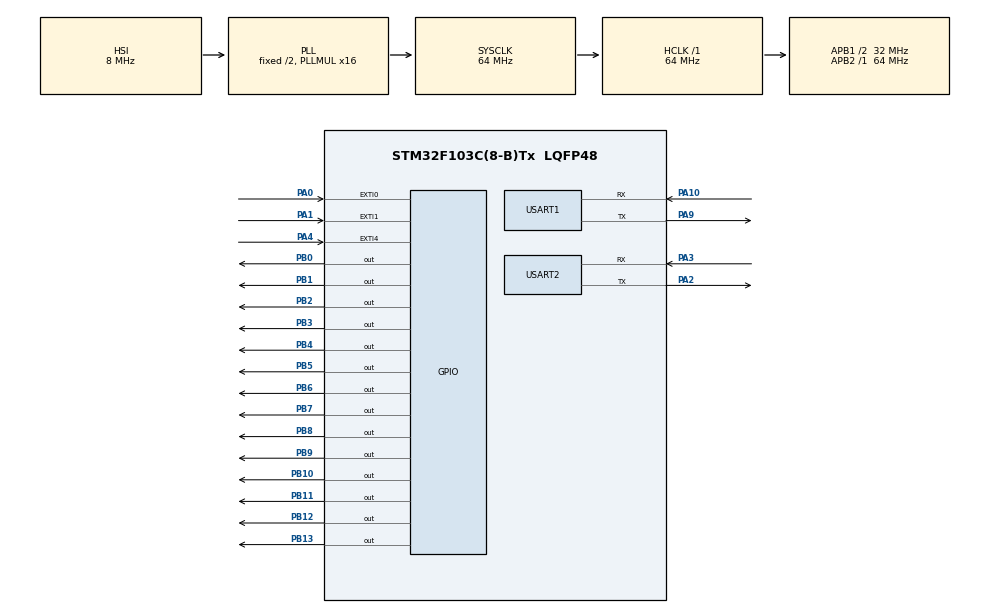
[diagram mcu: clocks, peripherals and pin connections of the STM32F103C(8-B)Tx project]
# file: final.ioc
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Mcu.Family=STM32F1
Mcu.Name=STM32F103C(8-B)Tx
Mcu.Package=LQFP48
NVIC.EXTI0_IRQn=true\:0\:0\:false\:false\:true\:true\:true\:true
NVIC.EXTI1_IRQn=true\:0\:0\:false\:false\:true\:true\:true\:true
NVIC.EXTI4_IRQn=true\:0\:0\:false\:false\:true\:true\:true\:true
NVIC.PriorityGroup=NVIC_PRIORITYGROUP_4
NVIC.USART1_IRQn=true\:0\:0\:false\:false\:true\:true\:true\:true
PA0-WKUP.Signal=GPXTI0
PA1.Signal=GPXTI1
PA10.Mode=Asynchronous
PA10.Signal=USART1_RX
PA13.Signal=SYS_JTMS-SWDIO
PA14.Signal=SYS_JTCK-SWCLK
PA2.Mode=Asynchronous
PA2.Signal=USART2_TX
PA3.Mode=Asynchronous
PA3.Signal=USART2_RX
PA4.GPIO_ModeDefaultEXTI=GPIO_MODE_IT_RISING
PA4.Signal=GPXTI4
PA9.Mode=Asynchronous
PA9.Signal=USART1_TX
PB0.GPIO_Speed=GPIO_SPEED_FREQ_HIGH
PB0.Signal=GPIO_Output
PB1.GPIO_Speed=GPIO_SPEED_FREQ_HIGH
PB1.Signal=GPIO_Output
PB10.GPIO_Speed=GPIO_SPEED_FREQ_HIGH
PB10.Signal=GPIO_Output
PB11.GPIO_Speed=GPIO_SPEED_FREQ_HIGH
PB11.Signal=GPIO_Output
PB12.GPIO_Speed=GPIO_SPEED_FREQ_HIGH
PB12.Signal=GPIO_Output
PB13.GPIO_Speed=GPIO_SPEED_FREQ_HIGH
PB13.Signal=GPIO_Output
PB2.GPIO_Speed=GPIO_SPEED_FREQ_HIGH
PB2.Signal=GPIO_Output
PB3.GPIO_Speed=GPIO_SPEED_FREQ_HIGH
PB3.Signal=GPIO_Output
PB4.GPIO_Speed=GPIO_SPEED_FREQ_HIGH
PB4.Signal=GPIO_Output
PB5.GPIO_Speed=GPIO_SPEED_FREQ_HIGH
PB5.Signal=GPIO_Output
PB6.GPIO_Speed=GPIO_SPEED_FREQ_HIGH
PB6.Signal=GPIO_Output
PB7.GPIO_Speed=GPIO_SPEED_FREQ_HIGH
PB7.Signal=GPIO_Output
PB8.GPIO_Speed=GPIO_SPEED_FREQ_HIGH
PB8.Signal=GPIO_Output
PB9.GPIO_Speed=GPIO_SPEED_FREQ_HIGH
PB9.Signal=GPIO_Output
ProjectManager.HeapSize=0x200
ProjectManager.StackSize=0x400
ProjectManager.TargetToolchain=STM32CubeIDE
RCC.AHBFreq_Value=64000000
RCC.APB1CLKDivider=RCC_HCLK_DIV2
RCC.APB1Freq_Value=32000000
RCC.APB1TimFreq_Value=64000000
RCC.APB2Freq_Value=64000000
RCC.APB2TimFreq_Value=64000000
RCC.HCLKFreq_Value=64000000
RCC.PLLMUL=RCC_PLL_MUL16
RCC.SYSCLKFreq_VALUE=64000000
RCC.SYSCLKSource=RCC_SYSCLKSOURCE_PLLCLK
RCC.USBFreq_Value=64000000
USART1.VirtualMode=VM_ASYNC
USART2.VirtualMode=VM_ASYNC
VP_SYS_VS_ND.Mode=No_Debug
board=custom

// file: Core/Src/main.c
/* USER CODE BEGIN Header */
/**
  ******************************************************************************
  * @file           : main.c
  * @brief          : Main program body
  ******************************************************************************
  * @attention
  *
  * Copyright (c) 2024 STMicroelectronics.
  * All rights reserved.
  *
  * This software is licensed under terms that can be found in the LICENSE file
  * in the root directory of this software component.
  * If no LICENSE file comes with this software, it is provided AS-IS.
  *
  ******************************************************************************
  */
/* USER CODE END Header */
#include "main.h"

/* USER CODE BEGIN PTD */
#define IMAGE_SIZE 64
#define IMAGE_DATA_SIZE 4096
#define MAX_PWM_BITS 3
/* USER CODE END PTD */

UART_HandleTypeDef huart1;
UART_HandleTypeDef huart2;

/* USER CODE BEGIN PV */
uint32_t lastButtonPressTime = 0;
uint32_t lastRotationTime = 0;
uint8_t tapCount = 0;
const uint32_t debounceDelay = 100;
const uint32_t tapTimeout = 500;
int8_t encoderDirection = 0;
uint8_t lastStateA = 0;
const char* command = "";
uint8_t imageBuffer[IMAGE_SIZE][IMAGE_SIZE];
uint32_t rowAddressValues[32];
uint32_t bsrrLookupTable[64];
uint8_t pixelLookupTable[MAX_PWM_BITS][256];  // 3 PWM bits x 256 pixel values
const int pwmBitsRed = 3;
const int pwmBitsGreen = 3;
const int pwmBitsBlue = 2;
const int maxPwmBits = 3; // Maximum number of bits among R, G, B
int baseDelay = 200;
/* USER CODE END PV */

void SystemClock_Config(void);
static void MX_GPIO_Init(void);
static void MX_USART2_UART_Init(void);
static void MX_USART1_UART_Init(void);
/* USER CODE BEGIN PFP */
void handleButtonAction(void);
void togglePlayPause(void);
void skipToNextSong(void);
void skipToPrevSong(void);
void adjustVolume(void);
void updateDisplay(void);
void init_buf(void);
void initRowAddressValues(void);
void initBsrrLookupTable(void);
/* USER CODE END PFP */

/* USER CODE BEGIN 0 */

// Interrupt handler for both rotation and button press
void HAL_GPIO_EXTI_Callback(uint16_t GPIO_Pin)
{
    uint32_t currentTime = HAL_GetTick();

    if (GPIO_Pin == GPIO_PIN_0)  // Pins A of the encoder
    {

    	//Debounce Rotation
    	if ((currentTime - lastRotationTime) > debounceDelay)
    	{
			// Read the state of both encoder pins
			uint8_t stateA = HAL_GPIO_ReadPin(GPIOA, GPIO_PIN_0);  // Encoder pin A
			uint8_t stateB = HAL_GPIO_ReadPin(GPIOA, GPIO_PIN_1);  // Encoder pin B

			// Determine rotation direction
			if (stateA != lastStateA){
				if (stateA != stateB) {
					encoderDirection = 1;  // Clockwise (CW)
				} else {
					encoderDirection = -1;  // Counterclockwise (CCW)
				}

				// Adjust the volume based on the rotation
				adjustVolume();
				encoderDirection = 0;
				lastRotationTime = currentTime;
			}
			lastStateA = stateA;
    	}

    }

    // Handle button press (connected to GPIO_PIN_4)
    if (GPIO_Pin == GPIO_PIN_4)  // Button press on the encoder
    {
		// Debounce the button press
		if ((currentTime - lastButtonPressTime) > debounceDelay)
		{
			// Register the button press and start counting taps
			tapCount++;

			// Update last button press time
			lastButtonPressTime = currentTime;
		}
   }
}

//UART Interrupt handler for receiving image data
void HAL_UART_RxCpltCallback(UART_HandleTypeDef *huart)
{
    if (huart->Instance == USART1)
    {
        // Restart UART reception
        HAL_UART_Receive_IT(&huart1, (uint8_t*)imageBuffer, IMAGE_DATA_SIZE);
    }
}

// Function to determine what action to perform based on tap count
void handleButtonAction(void)
{
	if (tapCount == 1){
		togglePlayPause();
	}
	else if (tapCount == 2){
		skipToNextSong();
	}
	else if (tapCount == 3){
		skipToPrevSong();
	}
	else{
	}
}

// Volume adjustment based on rotary encoder direction
void adjustVolume(void)
{
    if (encoderDirection > 0)
    {
        // Clockwise rotation: Increase volume
    	command = "raiseVolume\n";
    }
    else if (encoderDirection < 0)
    {
        // Counterclockwise rotation: Decrease volume
        command = "lowerVolume\n";
    }
    else{
    	return;
    }
	// Send 'command' to ESP32 via UART (hlpuart1)
	HAL_UART_Transmit(&huart1, (uint8_t*)command, strlen(command), HAL_MAX_DELAY);
}

// Action for single tap (play/pause)
void togglePlayPause(void)
{
    // Code to send play/pause command to Spotify
	command = "togglePlay\n";
	// Send 'command' to ESP32 via UART (hlpuart1)
	HAL_UART_Transmit(&huart1, (uint8_t*)command, strlen(command), HAL_MAX_DELAY);
}

// Action for double tap (next song)
void skipToNextSong(void)
{
    // Code to send next song command to Spotify
	command = "nextSong\n";
	// Send 'command' to ESP32 via UART (hlpuart1)
	(HAL_UART_Transmit(&huart1, (uint8_t*)command, strlen(command), HAL_MAX_DELAY) != HAL_OK);
}

// Action for triple tap (previous song)
void skipToPrevSong(void)
{
    // Code to send previous song command to Spotify
	command = "previousSong\n";
	// Send 'command' to ESP32 via UART (hlpuart1)
	(HAL_UART_Transmit(&huart1, (uint8_t*)command, strlen(command), HAL_MAX_DELAY) != HAL_OK);
}

// Function to set a pixel at (x, y) with RGB332 data
void setPixel(int x, int y, uint8_t r, uint8_t g, uint8_t b) {
    // Ensure coordinates are within bounds
    if (x < 0 || x >= IMAGE_SIZE || y < 0 || y >= IMAGE_SIZE) return;

    // Limit color components to their respective bit sizes
    r &= 0x07; // 3 bits for Red
    g &= 0x07; // 3 bits for Green
    b &= 0x03; // 2 bits for Blue

    // Combine RGB components into a single byte
    uint8_t pixelData = r | (g << 3) | (b << 6);

    // Store the pixel data
    imageBuffer[y][x] = pixelData;
}

void init_buf(){
    for (int y = 0; y < 32; y++) {
        for (int x = 0; x < IMAGE_SIZE; x++) {
            setPixel(x, y, 0x00, 0x07, 0x00); // Green
        }
    }
    for (int y = 32; y < IMAGE_SIZE; y++) {
        for (int x = 0; x < IMAGE_SIZE; x++) {
            setPixel(x, y, 0x00, 0x00, 0x00); // Black
        }
    }
}

void initRowAddressValues(void) {
    for (int row = 0; row < 32; row++) {
        uint32_t value = 0;

        // A line (PB7)
        if (row & 0x01) value |= (1 << 7);    // Set A
        else            value |= (1 << (7+16)); // Reset A

        // B line (PB8)
        if (row & 0x02) value |= (1 << 8);
        else            value |= (1 << (8+16));

        // C line (PB9)
        if (row & 0x04) value |= (1 << 9);
        else            value |= (1 << (9+16));

        // D line (PB10)
        if (row & 0x08) value |= (1 << 10);
        else            value |= (1 << (10+16));

        // E line (PB6)
        if (row & 0x10) value |= (1 << 6);
        else            value |= (1 << (6+16));

        rowAddressValues[row] = value;
    }
}

void initBsrrLookupTable(void) {
    for (int i = 0; i < 64; i++) {
        uint32_t bsrrValue = 0;

        int r1 = (i >> 0) & 1;
        int g1 = (i >> 1) & 1;
        int b1 = (i >> 2) & 1;
        int r2 = (i >> 3) & 1;
        int g2 = (i >> 4) & 1;
        int b2 = (i >> 5) & 1;

        // R1 = PB0
        bsrrValue |= r1 ? (1 << 0) : (1 << (0+16));
        // G1 = PB1
        bsrrValue |= g1 ? (1 << 1) : (1 << (1+16));
        // B1 = PB2
        bsrrValue |= b1 ? (1 << 2) : (1 << (2+16));
        // R2 = PB3
        bsrrValue |= r2 ? (1 << 3) : (1 << (3+16));
        // G2 = PB4
        bsrrValue |= g2 ? (1 << 4) : (1 << (4+16));
        // B2 = PB5
        bsrrValue |= b2 ? (1 << 5) : (1 << (5+16));

        bsrrLookupTable[i] = bsrrValue;
    }
}

void initPixelLookupTable() {
    for (int pwmBit = 0; pwmBit < MAX_PWM_BITS; pwmBit++) {
        uint8_t bitMaskRed = 1 << (2 - pwmBit);
        uint8_t bitMaskGreen = 1 << (2 - pwmBit);
        uint8_t bitMaskBlue = 1 << (1 - pwmBit);  // Since Blue has only 2 bits

        for (int pixelValue = 0; pixelValue < 256; pixelValue++) {
            uint8_t r = pixelValue & 0x07;         // 3 bits for Red
            uint8_t g = (pixelValue >> 3) & 0x07;  // 3 bits for Green
            uint8_t b = (pixelValue >> 6) & 0x03;  // 2 bits for Blue

            uint8_t r_on = (r & bitMaskRed) ? 1 : 0;
            uint8_t g_on = (g & bitMaskGreen) ? 1 : 0;
            uint8_t b_on = (b & bitMaskBlue) ? 1 : 0;

            uint8_t pixelBits = (r_on << 0) | (g_on << 1) | (b_on << 2);

            pixelLookupTable[pwmBit][pixelValue] = pixelBits;
        }
    }
}

void updateDisplay(void) {
    for (int pwmBit = 0; pwmBit < maxPwmBits; pwmBit++) {
        int delay = baseDelay << (maxPwmBits - 1 - pwmBit);
        uint8_t* lookupTable = pixelLookupTable[pwmBit];

        for (int row = 0; row < 32; row++) {
            // Set Row Address Lines
            GPIOB->BSRR = rowAddressValues[row];

            uint8_t* rowPtr1 = imageBuffer[row];
            uint8_t* rowPtr2 = imageBuffer[row + 32];

            for (int col = 0; col < 64; col++) {
                uint8_t pixel1 = rowPtr1[col];
                uint8_t pixel2 = rowPtr2[col];

                uint8_t pixelBits1 = lookupTable[pixel1];
                uint8_t pixelBits2 = lookupTable[pixel2];

                uint8_t pixelBits = pixelBits1 | (pixelBits2 << 3);

                // Set pixel colors using lookup table
                GPIOB->BSRR = bsrrLookupTable[pixelBits];

                // Toggle Clock (CLK = PB11)
                GPIOB->BSRR = (1 << 11);        // Set CLK high
                GPIOB->BSRR = (1 << (11+16));   // Set CLK low
            }

            // Latch Data (LAT = PB12)
            GPIOB->BSRR = (1 << 12);         // LAT high
            GPIOB->BSRR = (1 << (12+16));    // LAT low

            // Enable Display (OE = PB13 active low)
            GPIOB->BSRR = (1 << (13+16));    // OE low (output enabled)

            // Delay proportional to the bit weight
            for (volatile int i = 0; i < delay; i++) {
                __NOP();
            }

            // Disable Display (OE = PB13)
            GPIOB->BSRR = (1 << 13);         // OE high (output disabled)
        }
    }
}
/* USER CODE END 0 */

int main(void)
{

  /* MCU Configuration--------------------------------------------------------*/

  /* Reset of all peripherals, Initializes the Flash interface and the Systick. */
  HAL_Init();

  /* Configure the system clock */
  SystemClock_Config();

  /* Initialize all configured peripherals */
  HAL_Delay(500);
  MX_GPIO_Init();
  MX_USART2_UART_Init();
  MX_USART1_UART_Init();
  /* USER CODE BEGIN 2 */
  HAL_UART_Receive_IT(&huart1, (uint8_t*)imageBuffer, IMAGE_DATA_SIZE);
  init_buf();
  initRowAddressValues();
  initBsrrLookupTable();
  initPixelLookupTable();
  /* USER CODE END 2 */

  /* Infinite loop */
  /* USER CODE BEGIN WHILE */
  while (1)
  {
      updateDisplay();
      // Check if the tap timeout has elapsed after the first tap
      if ((tapCount > 0) && (HAL_GetTick() - lastButtonPressTime) > tapTimeout)
      {
          // Call the function to handle the number of taps detected
          handleButtonAction();

          // Reset tap count for the next sequence
          tapCount = 0;
      }
  }
  /* USER CODE END 3 */
}

void SystemClock_Config(void)
{
  RCC_OscInitTypeDef RCC_OscInitStruct = {0};
  RCC_ClkInitTypeDef RCC_ClkInitStruct = {0};

  /** Initializes the RCC Oscillators according to the specified parameters
  * in the RCC_OscInitTypeDef structure.
  */
  RCC_OscInitStruct.OscillatorType = RCC_OSCILLATORTYPE_HSI;
  RCC_OscInitStruct.HSIState = RCC_HSI_ON;
  RCC_OscInitStruct.HSICalibrationValue = RCC_HSICALIBRATION_DEFAULT;
  RCC_OscInitStruct.PLL.PLLState = RCC_PLL_ON;
  RCC_OscInitStruct.PLL.PLLSource = RCC_PLLSOURCE_HSI_DIV2;
  RCC_OscInitStruct.PLL.PLLMUL = RCC_PLL_MUL16;
  if (HAL_RCC_OscConfig(&RCC_OscInitStruct) != HAL_OK)
  {
    Error_Handler();
  }

  /** Initializes the CPU, AHB and APB buses clocks
  */
  RCC_ClkInitStruct.ClockType = RCC_CLOCKTYPE_HCLK|RCC_CLOCKTYPE_SYSCLK
                              |RCC_CLOCKTYPE_PCLK1|RCC_CLOCKTYPE_PCLK2;
  RCC_ClkInitStruct.SYSCLKSource = RCC_SYSCLKSOURCE_PLLCLK;
  RCC_ClkInitStruct.AHBCLKDivider = RCC_SYSCLK_DIV1;
  RCC_ClkInitStruct.APB1CLKDivider = RCC_HCLK_DIV2;
  RCC_ClkInitStruct.APB2CLKDivider = RCC_HCLK_DIV1;

  if (HAL_RCC_ClockConfig(&RCC_ClkInitStruct, FLASH_LATENCY_2) != HAL_OK)
  {
    Error_Handler();
  }
}

static void MX_USART1_UART_Init(void)
{

  huart1.Instance = USART1;
  huart1.Init.BaudRate = 115200;
  huart1.Init.WordLength = UART_WORDLENGTH_8B;
  huart1.Init.StopBits = UART_STOPBITS_1;
  huart1.Init.Parity = UART_PARITY_NONE;
  huart1.Init.Mode = UART_MODE_TX_RX;
  huart1.Init.HwFlowCtl = UART_HWCONTROL_NONE;
  huart1.Init.OverSampling = UART_OVERSAMPLING_16;
  if (HAL_UART_Init(&huart1) != HAL_OK)
  {
    Error_Handler();
  }

}

static void MX_USART2_UART_Init(void)
{

  huart2.Instance = USART2;
  huart2.Init.BaudRate = 115200;
  huart2.Init.WordLength = UART_WORDLENGTH_8B;
  huart2.Init.StopBits = UART_STOPBITS_1;
  huart2.Init.Parity = UART_PARITY_NONE;
  huart2.Init.Mode = UART_MODE_TX_RX;
  huart2.Init.HwFlowCtl = UART_HWCONTROL_NONE;
  huart2.Init.OverSampling = UART_OVERSAMPLING_16;
  if (HAL_UART_Init(&huart2) != HAL_OK)
  {
    Error_Handler();
  }

}

static void MX_GPIO_Init(void)
{
  GPIO_InitTypeDef GPIO_InitStruct = {0};

  /* GPIO Ports Clock Enable */
  __HAL_RCC_GPIOA_CLK_ENABLE();
  __HAL_RCC_GPIOB_CLK_ENABLE();

  /*Configure GPIO pin Output Level */
  HAL_GPIO_WritePin(GPIOB, GPIO_PIN_0|GPIO_PIN_1|GPIO_PIN_2|GPIO_PIN_10
                          |GPIO_PIN_11|GPIO_PIN_12|GPIO_PIN_13|GPIO_PIN_3
                          |GPIO_PIN_4|GPIO_PIN_5|GPIO_PIN_6|GPIO_PIN_7
                          |GPIO_PIN_8|GPIO_PIN_9, GPIO_PIN_RESET);

  /*Configure GPIO pins : PA0 PA1 PA4 */
  GPIO_InitStruct.Pin = GPIO_PIN_0|GPIO_PIN_1|GPIO_PIN_4;
  GPIO_InitStruct.Mode = GPIO_MODE_IT_RISING;
  GPIO_InitStruct.Pull = GPIO_NOPULL;
  HAL_GPIO_Init(GPIOA, &GPIO_InitStruct);

  /*Configure GPIO pins : PB0 PB1 PB2 PB10
                           PB11 PB12 PB13 PB3
                           PB4 PB5 PB6 PB7
                           PB8 PB9 */
  GPIO_InitStruct.Pin = GPIO_PIN_0|GPIO_PIN_1|GPIO_PIN_2|GPIO_PIN_10
                          |GPIO_PIN_11|GPIO_PIN_12|GPIO_PIN_13|GPIO_PIN_3
                          |GPIO_PIN_4|GPIO_PIN_5|GPIO_PIN_6|GPIO_PIN_7
                          |GPIO_PIN_8|GPIO_PIN_9;
  GPIO_InitStruct.Mode = GPIO_MODE_OUTPUT_PP;
  GPIO_InitStruct.Pull = GPIO_NOPULL;
  GPIO_InitStruct.Speed = GPIO_SPEED_FREQ_HIGH;
  HAL_GPIO_Init(GPIOB, &GPIO_InitStruct);

  /* EXTI interrupt init*/
  HAL_NVIC_SetPriority(EXTI0_IRQn, 0, 0);
  HAL_NVIC_EnableIRQ(EXTI0_IRQn);

  HAL_NVIC_SetPriority(EXTI1_IRQn, 0, 0);
  HAL_NVIC_EnableIRQ(EXTI1_IRQn);

  HAL_NVIC_SetPriority(EXTI4_IRQn, 0, 0);
  HAL_NVIC_EnableIRQ(EXTI4_IRQn);

}

void Error_Handler(void)
{
  __disable_irq();
  while (1)
  {
  }
}
